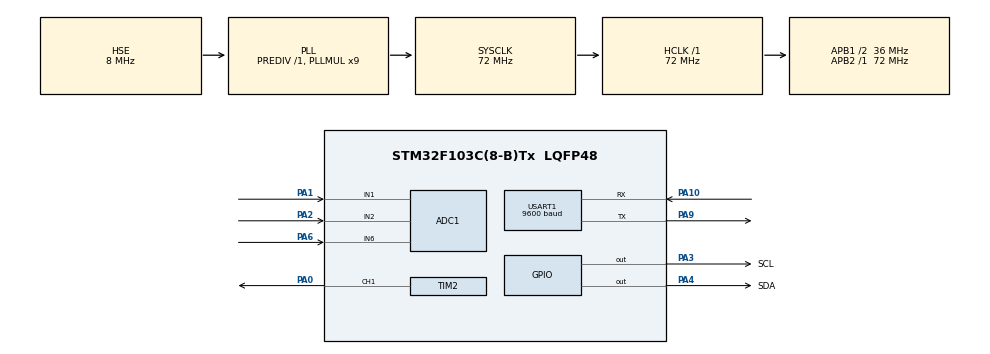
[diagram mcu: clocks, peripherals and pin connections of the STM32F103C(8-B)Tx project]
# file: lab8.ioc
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ADC1.Channel-0\#ChannelRegularConversion=ADC_CHANNEL_6
ADC1.NbrOfConversionFlag=1
ADC1.Rank-0\#ChannelRegularConversion=1
ADC1.SamplingTime-0\#ChannelRegularConversion=ADC_SAMPLETIME_1CYCLE_5
ADC1.master=1
Dma.Request0=USART1_RX
Dma.USART1_RX.0.Direction=DMA_PERIPH_TO_MEMORY
Dma.USART1_RX.0.Instance=DMA1_Channel5
Dma.USART1_RX.0.MemDataAlignment=DMA_MDATAALIGN_BYTE
Dma.USART1_RX.0.MemInc=DMA_MINC_ENABLE
Dma.USART1_RX.0.Mode=DMA_CIRCULAR
Dma.USART1_RX.0.PeriphDataAlignment=DMA_PDATAALIGN_BYTE
Dma.USART1_RX.0.PeriphInc=DMA_PINC_DISABLE
Dma.USART1_RX.0.Priority=DMA_PRIORITY_MEDIUM
FREERTOS.Queues01=uartRxQueue,32,uint8_t,0,Dynamic,NULL,NULL;uartTxQueue,8,UartTxMsg_t,0,Dynamic,NULL,NULL
FREERTOS.Tasks01=TaskMotor,40,128,StartTaskMotor,Default,NULL,Dynamic,NULL,NULL;TaskAdc,32,160,StartTaskAdc,Default,NULL,Dynamic,NULL,NULL;TaskUartRx,24,256,StartTaskUartRx,Default,NULL,Dynamic,NULL,NULL;TaskReport,16,160,StartTaskReport,Default,NULL,Dynamic,NULL,NULL;TaskUartTx,16,192,StartTaskUartTx,Default,NULL,Dynamic,NULL,NULL;TaskOled,8,256,StartTaskOled,Default,NULL,Dynamic,NULL,NULL
FREERTOS.configCHECK_FOR_STACK_OVERFLOW=2
FREERTOS.configTOTAL_HEAP_SIZE=8192
FREERTOS.configUSE_MALLOC_FAILED_HOOK=1
Mcu.Family=STM32F1
Mcu.Name=STM32F103C(8-B)Tx
Mcu.Package=LQFP48
NVIC.DMA1_Channel5_IRQn=true\:5\:0\:false\:false\:true\:true\:false\:true\:true
NVIC.PriorityGroup=NVIC_PRIORITYGROUP_4
NVIC.USART1_IRQn=true\:5\:0\:false\:false\:true\:true\:true\:true\:true
PA0-WKUP.Signal=S_TIM2_CH1_ETR
PA1.Signal=ADCx_IN1
PA10.Mode=Asynchronous
PA10.Signal=USART1_RX
PA2.GPIO_Mode=GPIO_MODE_ANALOG
PA2.Signal=ADCx_IN2
PA3.GPIO_Label=SCL
PA3.GPIO_ModeDefaultOutputPP=GPIO_MODE_OUTPUT_OD
PA3.GPIO_PuPd=GPIO_PULLUP
PA3.GPIO_Speed=GPIO_SPEED_FREQ_HIGH
PA3.PinState=GPIO_PIN_SET
PA3.Signal=GPIO_Output
PA4.GPIO_Label=SDA
PA4.GPIO_ModeDefaultOutputPP=GPIO_MODE_OUTPUT_OD
PA4.GPIO_PuPd=GPIO_PULLUP
PA4.GPIO_Speed=GPIO_SPEED_FREQ_HIGH
PA4.PinState=GPIO_PIN_SET
PA4.Signal=GPIO_Output
PA6.Signal=ADCx_IN6
PA9.Mode=Asynchronous
PA9.Signal=USART1_TX
PC14-OSC32_IN.Mode=LSE-External-Oscillator
PC14-OSC32_IN.Signal=RCC_OSC32_IN
PC15-OSC32_OUT.Mode=LSE-External-Oscillator
PC15-OSC32_OUT.Signal=RCC_OSC32_OUT
PD0-OSC_IN.Mode=HSE-External-Oscillator
PD0-OSC_IN.Signal=RCC_OSC_IN
PD1-OSC_OUT.Mode=HSE-External-Oscillator
PD1-OSC_OUT.Signal=RCC_OSC_OUT
ProjectManager.HeapSize=0x200
ProjectManager.StackSize=0x400
ProjectManager.TargetToolchain=CMake
RCC.ADCPresc=RCC_ADCPCLK2_DIV8
RCC.AHBFreq_Value=72000000
RCC.APB1CLKDivider=RCC_HCLK_DIV2
RCC.APB1Freq_Value=36000000
RCC.APB1TimFreq_Value=72000000
RCC.APB2Freq_Value=72000000
RCC.APB2TimFreq_Value=72000000
RCC.HCLKFreq_Value=72000000
RCC.PLLMUL=RCC_PLL_MUL9
RCC.PLLSourceVirtual=RCC_PLLSOURCE_HSE
RCC.SYSCLKFreq_VALUE=72000000
RCC.SYSCLKSource=RCC_SYSCLKSOURCE_PLLCLK
RCC.USBFreq_Value=72000000
SH.ADCx_IN1.0=ADC1_IN1,IN1
SH.ADCx_IN2.0=ADC1_IN2,IN2
SH.ADCx_IN6.0=ADC1_IN6,IN6
SH.S_TIM2_CH1_ETR.0=TIM2_CH1,PWM Generation1 CH1
TIM2.Channel-PWM\ Generation1\ CH1=TIM_CHANNEL_1
TIM2.Period=100-1
TIM2.Prescaler=7200-1
USART1.BaudRate=9600
USART1.VirtualMode=VM_ASYNC
VP_FREERTOS_VS_CMSIS_V2.Mode=CMSIS_V2
VP_SYS_VS_ND.Mode=No_Debug
board=custom

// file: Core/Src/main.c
/* USER CODE BEGIN Header */
/**
 ******************************************************************************
 * @file    main.c
 * @brief   传送带控制器（lab8）—— FreeRTOS 版
 *
 * 功能：
 *   1. 电位器 → ADC → 10 档调速（ADC 模式）
 *   2. 串口 JSON {"Speed":"x"}\r\n 远程调速（UART 模式）
 *   3. 串口文本命令 F<n> / R<n> / STOP / ADC，用于调试
 *   4. OLED 实时显示 模式 / 方向 / 档位 / 占空比 / ADC 值
 *   5. 每 100ms 上行上报 Speed:<档位>\r\n
 *
 * 两种控制模式的仲裁：谁最后发指令就听谁的。
 *   收到串口指令 → 切换到 MODE_UART，ADC 不再干预转速；
 *   收到 "ADC"   → 切回 MODE_ADC，重新由电位器控制。
 *
 * ── 移植到 RTOS 的关键变化 ──
 * 裸机版所有事都在一个主循环里轮转，其中最慢的 OLED_Refresh() 是阻塞的，
 * 实测要 ~0.5 秒（软件 I²C，一屏 43 个字符 = 387 次 START/STOP 事务）。
 * 结果就是注释里写的"电机 15ms 一拍"实际被拖成 ~500ms 一拍。
 *
 * 现在拆成 6 个任务，OLED 那条慢路径单独扔到最低优先级：
 *   TaskMotor  (High)        15ms   Motor_SmoothUpdate()  ← 唯一要求节拍准的
 *   TaskAdc    (AboveNormal) 25ms   App_SampleAdc()
 *   TaskUartRx (Normal)      事件   收字节 → 攒帧 → App_HandleLine()
 *   TaskReport (BelowNormal) 100ms  App_ReportSpeed()
 *   TaskUartTx (BelowNormal) 事件   唯一真正写 huart1 的任务
 *   TaskOled   (Low)         自定    App_RefreshOled()
 *
 * 本文件保留"应用逻辑"，freertos.c 里的任务体只是按节拍调用这里的 4 个
 * App_* 函数。这样 CubeMX 重新生成代码时业务逻辑都在 USER CODE
 * 区里，不会被冲掉。
 *
 * 模块划分：
 *   MOTOR/motor.c        电机状态机（平滑变速、安全换向、PWM 启停）
 *   OLED/oled.c          SSD1306 显示驱动
 *   SOFT_I2C/soft_i2c.c  软件模拟 I²C
 *   UART_SEND/uart_send.c 发送队列（串行化所有串口输出）
 ******************************************************************************
 */
/* USER CODE END Header */
#include "main.h"
#include "adc.h"
#include "cmsis_os.h"
#include "dma.h"
#include "gpio.h"
#include "tim.h"
#include "usart.h"

/* USER CODE BEGIN Includes */
#include "motor.h"
#include "oled.h"
#include "uart_frame.h"
#include "uart_send.h"
#include <stdio.h>
#include <stdlib.h>
#include <string.h>
/* USER CODE END Includes */

/* USER CODE BEGIN PD */
/* 控制模式 */
typedef enum {
  MODE_ADC = 0, /* 由电位器 ADC 值决定转速 */
  MODE_UART = 1 /* 由串口指令决定转速   */
} CtrlMode_t;
/* USER CODE END PD */

/* USER CODE BEGIN PV */
/* ctrl_mode 只有 TaskUartRx 会写（经 App_HandleLine），其余任务只读。
   单字节读写在这颗 MCU 上是原子的，不需要加锁。
   adc_value 同理：TaskAdc 写、TaskOled 读，32 位对齐访问是原子的。 */
static volatile CtrlMode_t ctrl_mode =
    MODE_ADC; // 作用是标记当前的控制模式，初始值为 MODE_ADC，表示由电位器 ADC
              // 值决定转速。
static volatile uint32_t adc_value = 0; // 作用是存储当前的 ADC 值，初始值为 0。

/* ── 串口接收：DMA + IDLE 整帧方案 ──
   USART1_RX 由 DMA1_Channel5 自动搬进 uart_rx_buf，CPU 全程不参与搬运。
   线路空闲 ≥1 个字符时间时触发 IDLE，HAL 在
   HAL_UARTEx_RxEventCallback(huart, Size) 里告诉我们这一帧有多少字节。

   为什么必须是连续裸内存：DMA 只认"从 A 地址连续写到 B 地址"，
   它不认识 RTOS 队列的内部结构，所以不能直接往队列里写。 */
static uint8_t uart_rx_buf[UART_RX_BUF_SIZE]; // 这个是 DMA 的接收缓冲区，大小为
                                              // UART_RX_BUF_SIZE 字节。

/* 队列由 CubeMX 在 freertos.c 里创建
   （FREERTOS -> Tasks and Queues -> Queues） */
extern osMessageQueueId_t uartRxQueueHandle; /* 中断收字节 -> TaskUartRx */
/* USER CODE END PV */

void SystemClock_Config(void);
void MX_FREERTOS_Init(void);
/* USER CODE BEGIN PFP */
static void HandleLegacyCommand(
    const char *cmd); // 作用是处理旧文本命令（F<n> / R<n> / STOP /
                      // ADC），参数// cmd 是以 '\0' 结尾的一行报文。

/* 启动 DMA + IDLE 接收（定义在 USER CODE 4）。
   freertos.c 在队列建好之后调用它。
   返回值必须检查：HAL_BUSY 表示 RxState 没回到 READY，DMA 不会重新装载。 */
HAL_StatusTypeDef Uart_StartReceive(void);

/* 中断里重新武装；失败只记数（正常恒为 0，非 0 说明状态机卡在 BUSY_RX） */
static void Uart_Rearm(void);
static volatile uint32_t s_rx_rearm_fail;
/* USER CODE END PFP */

/* USER CODE BEGIN 0 */

/* ---- 固定应答报文。长度一律用 strlen 取，不手写数字，避免数错 ---- */
static const char MSG_ERR_GEAR[] = "Error: Gear 1-10\r\n";
static const char MSG_OK_STOP[] = "OK: STOP\r\n";
static const char MSG_OK_ADC[] = "OK: ADC Mode\r\n";
static const char MSG_UNKNOWN[] = "Unknown Command\r\n";

/**
 * @brief  作用是处理旧文本命令（F<n> / R<n> / STOP / ADC）
 * @note   第一段是防回环过滤：本机自己发出的上报和应答会经 TX 串回 RX，
 *         不滤掉会造成死循环。
 */
static void HandleLegacyCommand(const char *cmd) {
  char res[32];
  int g;

  /* ---- 防回环 ---- */
  if (strncmp(cmd, "Speed:", 6) == 0 || strncmp(cmd, "OK:", 3) == 0 ||
      strncmp(cmd, "Error:", 6) == 0 || strncmp(cmd, "Unknown", 7) == 0 ||
      cmd[0] == '{') {
    return;
  }

  /* ---- F<n>：正转 n 档 ---- */
  if (cmd[0] == 'F' || cmd[0] == 'f') {
    g = atoi(cmd + 1); // atoi() 函数将字符串转换为整数，cmd + 1
                       // 表示跳过第一个字符 'F' 或 'f'，获取后面的数字部分。
    if (g >= 1 && g <= MOTOR_GEAR_MAX) {
      ctrl_mode =
          MODE_UART; // 这一步是将控制模式设置为
                     // MODE_UART，表示当前的控制模式由串口指令决定转速。
      Motor_SetTarget(MOTOR_FWD, (uint8_t)g);
      sprintf(
          res, "OK: FWD %d Gear\r\n",
          g); // 作用是将格式化的字符串写入 res 缓冲区，表示设置正转档位成功。
      Uart_SendText(res);
    } else {
      Uart_SendText(MSG_ERR_GEAR);
    }
  }
  /* ---- R<n>：反转 n 档 ---- */
  else if (cmd[0] == 'R' || cmd[0] == 'r') {
    g = atoi(cmd + 1);
    if (g >= 1 && g <= MOTOR_GEAR_MAX) {
      ctrl_mode = MODE_UART;
      Motor_SetTarget(MOTOR_REV, (uint8_t)g);
      sprintf(res, "OK: REV %d Gear\r\n", g);
      Uart_SendText(res);
    } else {
      Uart_SendText(MSG_ERR_GEAR);
    }
  }
  /* ---- STOP：停机（同时把目标方向也置为停止，否则会被重新拉起） ---- */
  else if (strcmp(cmd, "STOP") == 0 || strcmp(cmd, "stop") == 0) {
    ctrl_mode = MODE_UART;
    Motor_SetTarget(MOTOR_STOP, 0);
    Uart_SendText(MSG_OK_STOP);
  }
  /* ---- ADC：切回电位器控制 ---- */
  else if (strcmp(cmd, "ADC") == 0 || strcmp(cmd, "adc") == 0) {
    ctrl_mode = MODE_ADC;
    Uart_SendText(MSG_OK_ADC);
  } else {
    Uart_SendText(MSG_UNKNOWN);
  }
}

/**
 * @brief  处理一整帧串口数据（由 TaskUartRx 攒好一帧后调用）
 * @param  line 以 '\0' 结尾的一行报文
 * @note   裸机版要在这里关中断把 rx_buf 整个拷出来再解析；
 *         现在字节是队列一个个送过来的，缓冲是任务的私有变量，这步可以整个删掉。
 */
void App_HandleLine(const char *line) { // 作用是处理一整帧串口数据，参数 line
                                        // 是以 '\0' 结尾的一行报文。
  char speed_str[10];
  int speed;

  /* ---- 1. JSON 远程调速：{"Speed":"x"} ---- */
  /* 宽度必须写成 %9[...]：speed_str 只有 10 字节（含结尾 '\0'），
     不加宽度限制的话，上位机发个 {"Speed":"999999999999"} 就能顺着栈
     写出 40 多字节，砸掉本函数的返回地址。 */
  if (sscanf(line, "{\"Speed\":\"%9[^\"]\"}", speed_str) ==
      1) { // sscanf() 函数从 line 中按指定格式提取字符串，%9[^\"] 表示最多读取
           // 9 个非引号字符，存入 speed_str
           // 中。返回值为成功匹配的项数，如果成功匹配到一个项，则返回 1。
    speed = atoi(speed_str);

    if (speed >= 0 && speed <= MOTOR_GEAR_MAX) {
      ctrl_mode = MODE_UART; /* 收到远程指令后锁定串口模式，防止 ADC 覆盖 */

      if (speed == 0) {
        Motor_SetTarget(MOTOR_STOP, 0);
      } else {
        Motor_SetTarget(MOTOR_FWD, (uint8_t)speed); /* 默认正转 */
      }
    }
    return;
  }

  /* ---- 2. 旧文本命令 ---- */
  HandleLegacyCommand(line);
}

/**
 * @brief  采一次 ADC，并在 ADC 模式下更新目标转速
 * @note   由 TaskAdc 每 25ms 调用
 */
void App_SampleAdc(void) {
  HAL_ADC_Start(&hadc1); // 调用 HAL_ADC_Start() 函数启动 ADC 转换，参数 &hadc1
                         // 是 ADC 句柄，表示要操作的 ADC 实例。
  if (HAL_ADC_PollForConversion(&hadc1, 10) ==
      HAL_OK) { // HAL_ADC_PollForConversion是一个阻塞函数，用于等待 ADC
                // 转换完成。参数 &hadc1 是 ADC 句柄，10
                // 是超时时间（单位：毫秒）。如果转换成功完成，返回 HAL_OK。
    adc_value = HAL_ADC_GetValue(&hadc1);
  }

  /* UART 模式下只采样、只显示，不碰电机 ——
     这就是手册里说的"收到串口信息后 ADC 数据被暂时屏蔽"的实现 */
  if (ctrl_mode == MODE_ADC) {
    /* 12 位 ADC(0~4095) → 占空比 0~99 → 档位 0~9
     * （与原始实现一致：ADC 满量程也只能到 9 档） */
    uint8_t duty = (uint8_t)(adc_value * 100 / 4096);
    uint8_t gear = duty / 10;

    Motor_SetTarget((gear > 0) ? MOTOR_FWD : MOTOR_STOP, gear);
  }
}

/**
 * @brief  上报当前档位给网关
 * @note   由 TaskReport 每 100ms 调用。
 *         报文格式 Speed:x\r\n，x 为当前实际档位（含平滑过渡中的中间值）。
 *         注意这里只是投递到发送队列，真正写串口的是 TaskUartTx。
 */
void App_ReportSpeed(void) {
  char data_buf[20]; // 作用是存储要发送的报文，大小为 20 字节。

  sprintf(data_buf, "Speed:%d\r\n",
          Motor_GetGear()); // sprintf() 函数将格式化的字符串写入 data_buf
                            // 缓冲区，表示当前实际档位。
  Uart_SendText(data_buf);
}

/**
 * @brief  刷新 OLED 四行显示
 * @note   由 TaskOled 调用（最低优先级，慢慢画）。
 *         每次都在固定位置覆盖写，不需要先清屏；
 *         方向/模式字符串等宽（3~4 字符），不会留下残影。
 */
void App_RefreshOled(void) {
  /* 第一行：模式与方向 */
  OLED_ShowString(0, 0, "M:");
  OLED_ShowString(12, 0, (ctrl_mode == MODE_ADC) ? "ADC " : "UART");
  OLED_ShowString(36, 0, "D:");
  if (Motor_GetDir() == MOTOR_FWD)
    OLED_ShowString(48, 0, "FWD");
  else if (Motor_GetDir() == MOTOR_REV)
    OLED_ShowString(48, 0, "REV");
  else
    OLED_ShowString(48, 0, "STP");

  /* 第二行：档位与占空比 */
  OLED_ShowString(0, 2, "G:");
  OLED_ShowNum(12, 2, Motor_GetGear(), 2);
  OLED_ShowString(24, 2, "/10 S:");
  OLED_ShowNum(60, 2, Motor_GetDuty(), 3);
  OLED_ShowString(78, 2, "%");

  /* 第三行：当前档位 */
  OLED_ShowString(0, 4, "Gear:");
  OLED_ShowNum(30, 4, Motor_GetGear(), 2);
  OLED_ShowString(42, 4, "/10");

  /* 第四行：ADC 原始值 */
  OLED_ShowString(0, 6, "ADC:");
  OLED_ShowNum(24, 6, adc_value, 4);
}

/* USER CODE END 0 */

int main(void) {

  /* MCU Configuration--------------------------------------------------------*/

  /* Reset of all peripherals, Initializes the Flash interface and the Systick.
   */
  HAL_Init();

  /* Configure the system clock */
  SystemClock_Config();

  /* Initialize all configured peripherals */
  MX_GPIO_Init();
  MX_DMA_Init();
  MX_ADC1_Init();
  MX_TIM2_Init();
  MX_USART1_UART_Init();
  /* USER CODE BEGIN 2 */
  Motor_Init(); /* 必须在 MX_ADC1_Init() 之后，见 motor.h 说明 */
  OLED_Init();  /* 内部要等 OLED 上电稳定并清屏，约 0.3 秒 */

  /* 串口接收不在这里使能！
     要等到 uartRxQueue 建好之后（见 freertos.c 的 USER CODE BEGIN
     RTOS_THREADS）。 在这里调 Uart_StartReceive() 的话，从 DMA/IDLE 打开到
     MX_FREERTOS_Init() 建好队列 之间有个几微秒的窗口：这期间中断回调会拿 NULL
     句柄调 osMessageQueuePut， 帧被静默丢掉，主机的第一帧就废了。 */

  /* 这里【不要】再画一次开机界面。TaskOled 一启动就会调 App_RefreshOled()
     画出同样的内容，多写一处只会制造不一致 —— 原来那两处的第四行
     一处写 "RPM:" 一处写 "Gear:"，就是这么来的。 */
  /* USER CODE END 2 */

  /* Init scheduler */
  osKernelInitialize(); /* Call init function for freertos objects (in
                           cmsis_os2.c) */
  MX_FREERTOS_Init();

  /* Start scheduler */
  osKernelStart();

  /* We should never get here as control is now taken by the scheduler */

  /* Infinite loop */
  /* USER CODE BEGIN WHILE */
  /* 控制权已经交给调度器：osKernelStart() 不会返回。
     原先的主循环（串口解析 / ADC / 电机 / OLED）已经拆成
     freertos.c 里的 6 个任务。 */
  while (1) {
    /* USER CODE END WHILE */

  }
}

void SystemClock_Config(void) {
  RCC_OscInitTypeDef RCC_OscInitStruct = {0};
  RCC_ClkInitTypeDef RCC_ClkInitStruct = {0};
  RCC_PeriphCLKInitTypeDef PeriphClkInit = {0};

  /** Initializes the RCC Oscillators according to the specified parameters
   * in the RCC_OscInitTypeDef structure.
   */
  RCC_OscInitStruct.OscillatorType = RCC_OSCILLATORTYPE_HSE;
  RCC_OscInitStruct.HSEState = RCC_HSE_ON;
  RCC_OscInitStruct.HSEPredivValue = RCC_HSE_PREDIV_DIV1;
  RCC_OscInitStruct.HSIState = RCC_HSI_ON;
  RCC_OscInitStruct.PLL.PLLState = RCC_PLL_ON;
  RCC_OscInitStruct.PLL.PLLSource = RCC_PLLSOURCE_HSE;
  RCC_OscInitStruct.PLL.PLLMUL = RCC_PLL_MUL9;
  if (HAL_RCC_OscConfig(&RCC_OscInitStruct) != HAL_OK) {
    Error_Handler();
  }

  /** Initializes the CPU, AHB and APB buses clocks
   */
  RCC_ClkInitStruct.ClockType = RCC_CLOCKTYPE_HCLK | RCC_CLOCKTYPE_SYSCLK |
                                RCC_CLOCKTYPE_PCLK1 | RCC_CLOCKTYPE_PCLK2;
  RCC_ClkInitStruct.SYSCLKSource = RCC_SYSCLKSOURCE_PLLCLK;
  RCC_ClkInitStruct.AHBCLKDivider = RCC_SYSCLK_DIV1;
  RCC_ClkInitStruct.APB1CLKDivider = RCC_HCLK_DIV2;
  RCC_ClkInitStruct.APB2CLKDivider = RCC_HCLK_DIV1;

  if (HAL_RCC_ClockConfig(&RCC_ClkInitStruct, FLASH_LATENCY_2) != HAL_OK) {
    Error_Handler();
  }
  PeriphClkInit.PeriphClockSelection = RCC_PERIPHCLK_ADC;
  PeriphClkInit.AdcClockSelection = RCC_ADCPCLK2_DIV8;
  if (HAL_RCCEx_PeriphCLKConfig(&PeriphClkInit) != HAL_OK) {
    Error_Handler();
  }
}

/* USER CODE BEGIN 4 */

/**
 * @brief  启动（或重启）USART1 的 DMA + IDLE 接收
 * @note   一次调用同时完成：启动 DMA 搬运 + 使能 IDLE 中断。
 *         必须在 uartRxQueue 建好之后调用（见 freertos.c 的 RTOS_THREADS）。
 * @retval HAL_OK 启动成功；HAL_BUSY 表示 RxState 没回到 READY（DMA 不会重新装载）
 *
 * ⚠ 返回值必须检查。早期版本写成 (void)HAL_UARTEx_ReceiveToIdle_DMA(...)，
 *   而当时 DMA 配的是 CIRCULAR，这个调用**每次都返回 HAL_BUSY**，
 *   返回值被丢掉后，"DMA 从未重新开始"这件事完全无声。
 */
HAL_StatusTypeDef Uart_StartReceive(void) {
  return HAL_UARTEx_ReceiveToIdle_DMA(&huart1, uart_rx_buf,
                                      sizeof(uart_rx_buf));
}

/**
 * @brief 中断上下文里的"重新武装"：失败只记数，不打印（中断里不能阻塞发送）。
 */
static void Uart_Rearm(void) {
  if (Uart_StartReceive() != HAL_OK) {
    s_rx_rearm_fail++; /* 正常应恒为 0；非 0 说明 HAL 状态机卡在 BUSY_RX */
  }
}

/**
 * @brief  DMA + IDLE 接收事件回调（一帧结束、或缓冲写满时触发）
 * @param  Size 本次收到的字节数（IDLE 触发时 = 这一帧的长度）
 *
 * @note   中断里只做三件事：拷贝整帧、投递队列、重新武装。
 *
 *         为什么必须 memcpy 而不能只传指针：
 *         uart_rx_buf 是 DMA 的下一个写入目标。如果只把指针丢给任务，
 *         任务还没解析完，下一帧就已经把数据覆盖了。
 *
 *         ⚠ USART1 与 DMA1_Channel5 的抢占优先级都是 5
 *         （configLIBRARY_MAX_SYSCALL_INTERRUPT_PRIORITY = 5），
 *         才能在这里调用 osMessageQueuePut；优先级数值小于 5 是非法的，
 *         会触发 configASSERT 死循环。
 */
void HAL_UARTEx_RxEventCallback(UART_HandleTypeDef *huart, uint16_t Size) {
  if (huart->Instance == USART1) {
    UartFrame_t frame;

    if (Size > UART_FRAME_MAX) {
      Size = UART_FRAME_MAX; /* 超长帧截断，防止越界 */
    }
    frame.len = Size;
    memcpy(frame.data, uart_rx_buf, Size);

    /* 中断上下文：超时参数必须为 0；队列满时丢帧而不是阻塞 */
    (void)osMessageQueuePut(uartRxQueueHandle, &frame, 0U, 0U);

    Uart_Rearm(); /* 重新武装，准备接收下一帧 */
  }
}

/**
 * @brief  串口错误回调（溢出 ORE / 帧错 / 噪声 / DMA 传输错误）
 * @note   必须实现。HAL 在错误路径里会把接收状态清掉且不再自动重开，
 *         不重新武装的话串口会【永久失聪】直到复位 ——
 *         这正是 LAB9 上踩过的那个坑（当时 ORE 关闭了 RXNEIE）。
 *         改成 DMA 后风险依然存在，只是触发点从 RXNEIE 变成 DMA 状态机。
 */
void HAL_UART_ErrorCallback(UART_HandleTypeDef *huart) {
  if (huart->Instance == USART1) {
    Uart_Rearm();
  }
}

/* USER CODE END 4 */

void Error_Handler(void) {
  __disable_irq();
  while (1) {
  }
}
#ifdef USE_FULL_ASSERT
/**
 * @brief  Reports the name of the source file and the source line number
 *         where the assert_param error has occurred.
 * @param  file: pointer to the source file name
 * @param  line: assert_param error line source number
 * @retval None
 */
void assert_failed(uint8_t *file, uint32_t line) {
  /* USER CODE BEGIN 6 */
  /* User can add his own implementation to report the file name and line
     number, ex: printf("Wrong parameters value: file %s on line %d\r\n", file,
     line) */
  /* USER CODE END 6 */
}
#endif /* USE_FULL_ASSERT */

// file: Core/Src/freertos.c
/* USER CODE BEGIN Header */
/**
 ******************************************************************************
 * File Name          : freertos.c
 * Description        : Code for freertos applications
 ******************************************************************************
 * @attention
 *
 * Copyright (c) 2026 STMicroelectronics.
 * All rights reserved.
 *
 * This software is licensed under terms that can be found in the LICENSE file
 * in the root directory of this software component.
 * If no LICENSE file comes with this software, it is provided AS-IS.
 *
 ******************************************************************************
 */
/* USER CODE END Header */

#include "FreeRTOS.h"
#include "cmsis_os.h"
#include "main.h"
#include "task.h"

/* USER CODE BEGIN Includes */
#include "motor.h"
#include "uart_frame.h"
#include "uart_send.h"
#include "usart.h"
#include <string.h>

/* main.c 里的应用逻辑。任务体只按节拍调用它们，
   业务代码留在 main.c，CubeMX 重新生成时不会被冲掉。 */
extern void App_HandleLine(const char *line);
extern void App_SampleAdc(void);
extern void App_ReportSpeed(void);
extern void App_RefreshOled(void);

/* main.c 里的串口接收启动函数（内部持有 DMA 接收缓冲） */
extern HAL_StatusTypeDef Uart_StartReceive(void);
/* USER CODE END Includes */

/* USER CODE BEGIN PD */
/* 各任务的节拍（ms）。configTICK_RATE_HZ = 1000，所以 1 tick = 1ms。 */
#define ADC_PERIOD_MS 25
#define REPORT_PERIOD_MS 100
/* 电机节拍直接用 MOTOR_TICK_MS（15ms），见 MOTOR/motor.h */
/* USER CODE END PD */

/* Definitions for TaskMotor */
osThreadId_t TaskMotorHandle;
const osThreadAttr_t TaskMotor_attributes = {
    .name = "TaskMotor",
    .stack_size = 128 * 4,
    .priority = (osPriority_t)osPriorityHigh,
};
/* Definitions for TaskAdc */
osThreadId_t TaskAdcHandle;
const osThreadAttr_t TaskAdc_attributes = {
    .name = "TaskAdc",
    .stack_size = 160 * 4,
    .priority = (osPriority_t)osPriorityAboveNormal,
};
/* Definitions for TaskUartRx */
osThreadId_t TaskUartRxHandle;
const osThreadAttr_t TaskUartRx_attributes = {
    .name = "TaskUartRx",
    .stack_size = 256 * 4,
    .priority = (osPriority_t)osPriorityNormal,
};
/* Definitions for TaskReport */
osThreadId_t TaskReportHandle;
const osThreadAttr_t TaskReport_attributes = {
    .name = "TaskReport",
    .stack_size = 160 * 4,
    .priority = (osPriority_t)osPriorityBelowNormal,
};
/* Definitions for TaskUartTx */
osThreadId_t TaskUartTxHandle;
const osThreadAttr_t TaskUartTx_attributes = {
    .name = "TaskUartTx",
    .stack_size = 192 * 4,
    .priority = (osPriority_t)osPriorityBelowNormal,
};
/* Definitions for TaskOled */
osThreadId_t TaskOledHandle;
const osThreadAttr_t TaskOled_attributes = {
    .name = "TaskOled",
    .stack_size = 256 * 4,
    .priority = (osPriority_t)osPriorityLow,
};
/* Definitions for uartRxQueue */
osMessageQueueId_t uartRxQueueHandle;
const osMessageQueueAttr_t uartRxQueue_attributes = {.name = "uartRxQueue"};
/* Definitions for uartTxQueue */
osMessageQueueId_t uartTxQueueHandle;
const osMessageQueueAttr_t uartTxQueue_attributes = {.name = "uartTxQueue"};

void StartTaskMotor(void *argument);
void StartTaskAdc(void *argument);
void StartTaskUartRx(void *argument);
void StartTaskReport(void *argument);
void StartTaskUartTx(void *argument);
void StartTaskOled(void *argument);

void MX_FREERTOS_Init(void); /* (MISRA C 2004 rule 8.1) */

/* Hook prototypes */
void vApplicationStackOverflowHook(xTaskHandle xTask, signed char *pcTaskName);
void vApplicationMallocFailedHook(void);

/* USER CODE BEGIN 4 */
void vApplicationStackOverflowHook(xTaskHandle xTask, signed char *pcTaskName) {
  /* 任务栈溢出了。停在这里而不是继续跑，
     否则踩坏的是别的任务的数据，症状会离现场很远。 */
  (void)xTask;
  (void)pcTaskName;
  Error_Handler();
}
/* USER CODE END 4 */

/* USER CODE BEGIN 5 */
void vApplicationMallocFailedHook(void) {
  /* 堆不够用了（configTOTAL_HEAP_SIZE 配小了）。
     CubeMX 的 FreeRTOS 界面里能看到 TOTAL_HEAP_USED，
     加任务/队列后记得回头核一下。 */
  Error_Handler();
}
/* USER CODE END 5 */

void MX_FREERTOS_Init(void) {

  /* Create the queue(s) */
  /* creation of uartRxQueue */
  /* ⚠ 本行由 CubeMX 生成，但已手工修改：元素类型从 uint8_t（单字节）
     改为 UartFrame_t（整帧），深度从 32 降到 4。
     若日后用 CubeMX 重新生成代码，请在 FREERTOS → Queues 里把
     uartRxQueue 的 Item Size 改为 66（= sizeof(UartFrame_t)）、
     Queue Size 改为 4，否则会退回旧的“32 × 1 字节”配置，
     TaskUartRx 取到的将是错误粒度的数据。 */
  uartRxQueueHandle = osMessageQueueNew(
      UART_FRAME_QUEUE_DEPTH, sizeof(UartFrame_t), &uartRxQueue_attributes);

  /* creation of uartTxQueue */
  uartTxQueueHandle =
      osMessageQueueNew(8, sizeof(UartTxMsg_t), &uartTxQueue_attributes);

  /* Create the thread(s) */
  /* creation of TaskMotor */
  TaskMotorHandle = osThreadNew(StartTaskMotor, NULL, &TaskMotor_attributes);

  /* creation of TaskAdc */
  TaskAdcHandle = osThreadNew(StartTaskAdc, NULL, &TaskAdc_attributes);

  /* creation of TaskUartRx */
  TaskUartRxHandle = osThreadNew(StartTaskUartRx, NULL, &TaskUartRx_attributes);

  /* creation of TaskReport */
  TaskReportHandle = osThreadNew(StartTaskReport, NULL, &TaskReport_attributes);

  /* creation of TaskUartTx */
  TaskUartTxHandle = osThreadNew(StartTaskUartTx, NULL, &TaskUartTx_attributes);

  /* creation of TaskOled */
  TaskOledHandle = osThreadNew(StartTaskOled, NULL, &TaskOled_attributes);

  /* USER CODE BEGIN RTOS_THREADS */
  /* add threads, ... */

  /* 串口接收放在这里使能，而不是 main() 的 USER CODE 2 里。
     为什么：中断回调要把字节投进 uartRxQueue，而队列是上面刚建好的。
     如果提前到 main() 里使能，从"中断打开"到"队列建好"之间有个几微秒窗口，
     这期间到达的字节会因为句柄还是 NULL 而被 osMessageQueuePut 直接丢掉
     （CMSIS 包装层会返回 osErrorParameter，不会崩，但字节没了），
     主机的第一帧就废了。

     放在这里之后，即使调度器还没启动，帧也能正常入队（队列深度 4 帧），
     TaskUartRx 起来后照样能取到 —— 一个都不丢。 */
  (void)Uart_StartReceive();
  /* USER CODE END RTOS_THREADS */

}

void StartTaskMotor(void *argument) {
  /* USER CODE BEGIN StartTaskMotor */
  /* 全工程唯一要求节拍准的任务：电机斜坡的快慢直接取决于这个周期。
     它优先级最高，不会被 OLED（~0.1 秒一轮）之类拖慢 ——
     裸机版这一拍实际是 ~500ms，就是被阻塞式的 OLED_Refresh() 拖的。 */
  for (;;) {
    Motor_SmoothUpdate();
    osDelay(MOTOR_TICK_MS); // 作用是每隔 MOTOR_TICK_MS（15ms）调用一次
                            // Motor_SmoothUpdate()，实现电机的平滑变速。
  }
  /* USER CODE END StartTaskMotor */
}

void StartTaskAdc(void *argument) {
  /* USER CODE BEGIN StartTaskAdc */
  /* 采样一次约几十微秒，25ms 的周期余量很大。
     UART 模式下这个任务只更新显示用的 adc_value，不再碰电机。 */
  for (;;) {
    App_SampleAdc();
    osDelay(ADC_PERIOD_MS);
  }
  /* USER CODE END StartTaskAdc */
}

void StartTaskUartRx(void *argument) {
  /* USER CODE BEGIN StartTaskUartRx */
  /* 队列里现在放的是【整帧】而不是单个字节：
     DMA 把字节搬进 uart_rx_buf，IDLE 中断触发时 HAL 一次性告诉我们
     这一帧有多少字节，回调里 memcpy 成 UartFrame_t 投递过来。
     因此这里不再需要"攒字节"的私有缓冲，也不需要判 idx 越界。 */
  UartFrame_t frame;

  for (;;) {
    /* 阻塞等一帧。没有数据时本任务完全不被调度，不占 CPU */
    if (osMessageQueueGet(uartRxQueueHandle, &frame, NULL, osWaitForever) !=
        osOK) {
      continue;
    }

    /* 补字符串结束符（回调只拷贝了 len 个字节，没有写 '\0'） */
    if (frame.len >= UART_FRAME_MAX) {
      frame.len = UART_FRAME_MAX - 1;
    }
    frame.data[frame.len] = '\0';

    /* 一帧里可能包含多行（主机连发两条命令、彼此间隔小于 1 个字符时间时
       IDLE 就不会把它们分开），所以按 CR/LF 逐行切，空行跳过。
       正常单条命令的场景下，这个循环只跑一次。 */
    char *p = frame.data;
    // 下面的操作是处理一帧串口数据，逐行切分并调用 App_HandleLine()
    // 处理每一行。
    while (*p != '\0') {
      char *nl = p;
      while (*nl != '\0' && *nl != '\r' &&
             *nl != '\n') { // 作用是找到当前行的结束位置，nl 指向 '\0'、'\r' 或
                            // '\n'。
        nl++;
      }

      char saved = *nl;
      *nl = '\0'; // 作用是暂时把当前行的结束符替换为 '\0'，方便处理当前行。
      if (*p != '\0') {
        App_HandleLine(p);
      }
      if (saved == '\0') {
        break;
      }
      p = nl + 1; // 为了批量处理多行，p 指向下一行的开头。
    }
  }
  /* USER CODE END StartTaskUartRx */
}

void StartTaskReport(void *argument) {
  /* USER CODE BEGIN StartTaskReport */
  /* 单独开一个任务，就是为了保证 100ms 的上报节拍不被 OLED 刷新拖慢。
     裸机版上报和 OLED 挤在同一个 100ms 分支里，实际周期是 OLED 的 ~500ms。

     App_ReportSpeed() 只往发送队列投递，不做阻塞发送，所以这一拍很准。 */
  for (;;) {
    App_ReportSpeed();
    osDelay(REPORT_PERIOD_MS);
  }
  /* USER CODE END StartTaskReport */
}

void StartTaskUartTx(void *argument) {
  /* USER CODE BEGIN StartTaskUartTx */
  UartTxMsg_t msg;

  /* 全工程唯一真正操作 huart1 的地方。
     命令应答（TaskUartRx 经 App_HandleLine）和周期上报（TaskReport）
     都只往队列里投递，所以两路输出不会在串口上互相踩。 */
  for (;;) {
    if (osMessageQueueGet(uartTxQueueHandle, &msg, NULL, osWaitForever) ==
        osOK) {
      HAL_UART_Transmit(&huart1, (uint8_t *)msg.text,
                        (uint16_t)strlen(msg.text), 100);
    }
  }
  /* USER CODE END StartTaskUartTx */
}

void StartTaskOled(void *argument) {
  /* USER CODE BEGIN StartTaskOled */
  /* 最慢的任务：软件 I²C 刷一屏 43 个字符 = 387 次 START/STOP 事务，
     即使把 I2C_Delay 提速到 20 之后也要 ~0.13 秒（原来 ~0.5 秒）。

     压到最低优先级当"填缝"：上面 5 个任务不跑的时候它才跑。
     中途被抢占是安全的 —— 被抢占的是【主机】，只是 SDA/SCL 维持原电平
     更久、节拍变慢，从机一直等着（见 SOFT_I2C/soft_i2c.h 的说明）。

     osDelay(1) 不是给刷新节拍用的（那由 I²C 本身的耗时决定），
     而是让最低优先级的任务定期放一次手，别把空闲任务饿死。 */
  for (;;) {
    App_RefreshOled();
    osDelay(1);
  }
  /* USER CODE END StartTaskOled */
}
